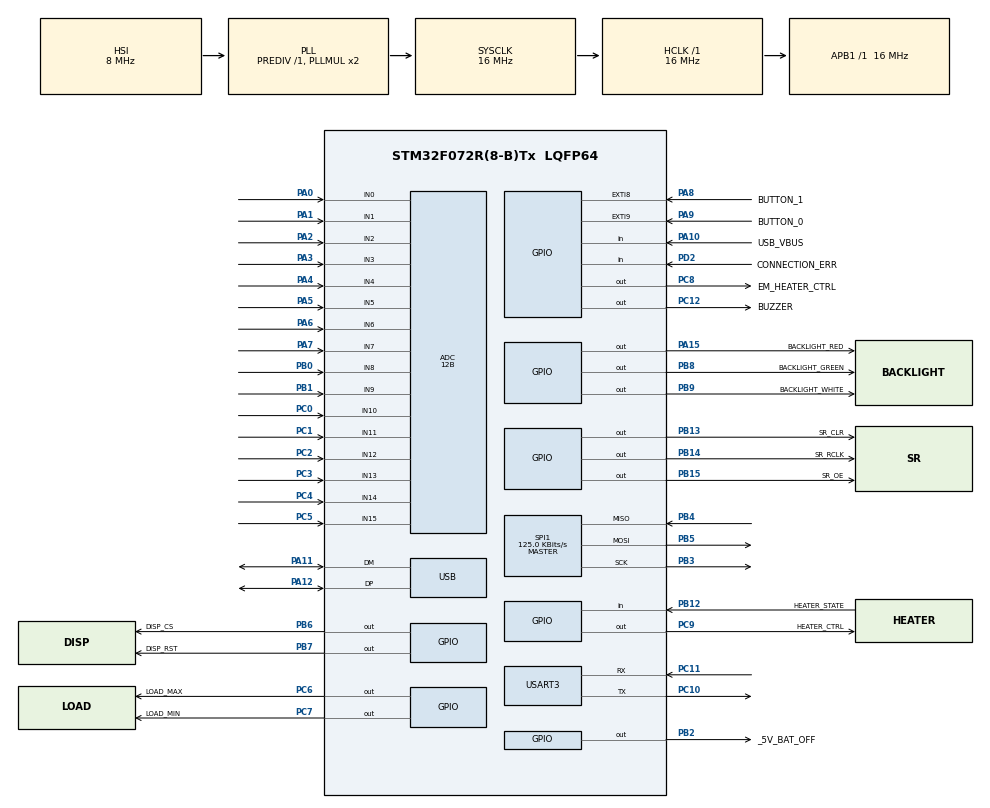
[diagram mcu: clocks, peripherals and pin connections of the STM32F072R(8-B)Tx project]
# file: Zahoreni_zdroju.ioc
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ADC.Resolution=ADC_RESOLUTION_12B
ADC.SamplingTime=ADC_SAMPLETIME_55CYCLES_5
Mcu.Family=STM32F0
Mcu.Name=STM32F072R(8-B)Tx
Mcu.Package=LQFP64
NVIC.ADC1_COMP_IRQn=true\:0\:0\:false\:false\:true\:true\:true\:true
NVIC.EXTI4_15_IRQn=true\:0\:0\:false\:false\:true\:true\:true\:true
NVIC.TIM14_IRQn=true\:0\:0\:false\:false\:true\:true\:true\:true
NVIC.USART3_4_IRQn=true\:0\:0\:false\:false\:true\:true\:true\:true
NVIC.USB_IRQn=true\:0\:0\:false\:false\:true\:false\:true\:true
PA0.Mode=IN0
PA0.Signal=ADC_IN0
PA1.Mode=IN1
PA1.Signal=ADC_IN1
PA10.GPIO_Label=USB_VBUS
PA10.Signal=GPIO_Input
PA11.Mode=Device
PA11.Signal=USB_DM
PA12.Mode=Device
PA12.Signal=USB_DP
PA13.Mode=Serial_Wire
PA13.Signal=SYS_SWDIO
PA14.Mode=Serial_Wire
PA14.Signal=SYS_SWCLK
PA15.GPIO_Label=BACKLIGHT_RED
PA15.Signal=GPIO_Output
PA2.Mode=IN2
PA2.Signal=ADC_IN2
PA3.Mode=IN3
PA3.Signal=ADC_IN3
PA4.Mode=IN4
PA4.Signal=ADC_IN4
PA5.Mode=IN5
PA5.Signal=ADC_IN5
PA6.Mode=IN6
PA6.Signal=ADC_IN6
PA7.Mode=IN7
PA7.Signal=ADC_IN7
PA8.GPIO_Label=BUTTON_1
PA8.GPIO_PuPd=GPIO_PULLDOWN
PA8.Signal=GPXTI8
PA9.GPIO_Label=BUTTON_0
PA9.GPIO_PuPd=GPIO_PULLDOWN
PA9.Signal=GPXTI9
PB0.Mode=IN8
PB0.Signal=ADC_IN8
PB1.Mode=IN9
PB1.Signal=ADC_IN9
PB12.GPIO_Label=HEATER_STATE
PB12.Signal=GPIO_Input
PB13.GPIO_Label=SR_CLR
PB13.Signal=GPIO_Output
PB14.GPIO_Label=SR_RCLK
PB14.Signal=GPIO_Output
PB15.GPIO_Label=SR_OE
PB15.Signal=GPIO_Output
PB2.GPIO_Label=_5V_BAT_OFF
PB2.Signal=GPIO_Output
PB3.Mode=Full_Duplex_Master
PB3.Signal=SPI1_SCK
PB4.Mode=Full_Duplex_Master
PB4.Signal=SPI1_MISO
PB5.Mode=Full_Duplex_Master
PB5.Signal=SPI1_MOSI
PB6.GPIO_Label=DISP_CS
PB6.Signal=GPIO_Output
PB7.GPIO_Label=DISP_RST
PB7.Signal=GPIO_Output
PB8.GPIO_Label=BACKLIGHT_GREEN
PB8.Signal=GPIO_Output
PB9.GPIO_Label=BACKLIGHT_WHITE
PB9.Signal=GPIO_Output
PC0.Mode=IN10
PC0.Signal=ADC_IN10
PC1.Mode=IN11
PC1.Signal=ADC_IN11
PC10.Mode=Asynchronous
PC10.Signal=USART3_TX
PC11.Mode=Asynchronous
PC11.Signal=USART3_RX
PC12.GPIO_Label=BUZZER
PC12.Signal=GPIO_Output
PC2.Mode=IN12
PC2.Signal=ADC_IN12
PC3.Mode=IN13
PC3.Signal=ADC_IN13
PC4.Mode=IN14
PC4.Signal=ADC_IN14
PC5.Mode=IN15
PC5.Signal=ADC_IN15
PC6.GPIO_Label=LOAD_MAX
PC6.Signal=GPIO_Output
PC7.GPIO_Label=LOAD_MIN
PC7.Signal=GPIO_Output
PC8.GPIO_Label=EM_HEATER_CTRL
PC8.Signal=GPIO_Output
PC9.GPIO_Label=HEATER_CTRL
PC9.Signal=GPIO_Output
PD2.GPIO_Label=CONNECTION_ERR
PD2.Signal=GPIO_Input
PF0-OSC_IN.Mode=HSE-External-Oscillator
PF0-OSC_IN.Signal=RCC_OSC_IN
PF1-OSC_OUT.Mode=HSE-External-Oscillator
PF1-OSC_OUT.Signal=RCC_OSC_OUT
ProjectManager.HeapSize=0x200
ProjectManager.StackSize=0x400
ProjectManager.TargetToolchain=STM32CubeIDE
RCC.AHBFreq_Value=16000000
RCC.APB1Freq_Value=16000000
RCC.APB1TimFreq_Value=16000000
RCC.HCLKFreq_Value=16000000
RCC.HSE_VALUE=16000000
RCC.SYSCLKFreq_VALUE=16000000
RCC.SYSCLKSource=RCC_SYSCLKSOURCE_PLLCLK
SPI1.BaudRatePrescaler=SPI_BAUDRATEPRESCALER_128
SPI1.CLKPhase=SPI_PHASE_2EDGE
SPI1.CLKPolarity=SPI_POLARITY_HIGH
SPI1.CalculateBaudRate=125.0 KBits/s
SPI1.DataSize=SPI_DATASIZE_8BIT
SPI1.Direction=SPI_DIRECTION_2LINES
SPI1.Mode=SPI_MODE_MASTER
SPI1.VirtualType=VM_MASTER
TIM14.Channel=TIM_CHANNEL_1
TIM14.Period=10000-1
TIM14.Prescaler=16-1
USART3.VirtualMode-Asynchronous=VM_ASYNC
USB_DEVICE.CLASS_NAME_FS=CDC
USB_DEVICE.VirtualMode=Cdc
USB_DEVICE.VirtualModeFS=Cdc_FS
VP_ADC_Vref_Input.Mode=IN-Vrefint
VP_TIM14_VS_ClockSourceINT.Mode=Enable_Timer
VP_TIM14_VS_no_output1.Mode=Output Compare1 No Output
VP_USB_DEVICE_VS_USB_DEVICE_CDC_FS.Mode=CDC_FS
board=custom

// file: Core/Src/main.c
/* USER CODE BEGIN Header */
/**
  ******************************************************************************
  * @file           : main.c
  * @brief          : Main program body
  ******************************************************************************
  * @attention
  *
  * <h2><center>&copy; Copyright (c) 2021 STMicroelectronics.
  * All rights reserved.</center></h2>
  *
  * This software component is licensed by ST under BSD 3-Clause license,
  * the "License"; You may not use this file except in compliance with the
  * License. You may obtain a copy of the License at:
  *                        opensource.org/licenses/BSD-3-Clause
  *
  ******************************************************************************
  */
/* USER CODE END Header */
#include "main.h"
#include "usb_device.h"

/* USER CODE BEGIN Includes */
#include "usbd_cdc_if.h"
/* USER CODE END Includes */

/* USER CODE BEGIN PTD */
//nějaká změna
/* USER CODE END PTD */

ADC_HandleTypeDef hadc;

SPI_HandleTypeDef hspi1;

TIM_HandleTypeDef htim14;

UART_HandleTypeDef huart3;

/* USER CODE BEGIN PV */
//extern	RING_BUFFER* dispBuffer;
//extern	RING_BUFFER* regBuffer;
extern	RING_BUFFER* USB_Rx_Buffer;
extern	RING_BUFFER* USB_Tx_Buffer;

volatile uint32_t ADC_Buffer[17][NUMBER_OF_SAMPLES];	//get samples of each channel
volatile uint32_t ADC_Results[17] = {0};

const uint32_t ADC_ChannelConf[] = 	{U15V_CHANNEL, U15V_CURRENT_CHANNEL,
		 	 	 	 	 	 	 	 U12V_CHANNEL, U12V_CURRENT_CHANNEL,
									 U24VO2_CHANNEL, U24VO2_CURRENT_CHANNEL,
									 U24V_CHANNEL, U24V_CURRENT_CHANNEL,
									 U5VK_CHANNEL, U5VK_CURRENT_CHANNEL,
									 U5V_CHANNEL, U5V_CURRENT_CHANNEL,
									 U_BAT_CHANNEL,
									 U48V_CURRENT_CHANNEL,
									 INTERNAL_REF_CHANNEL,
									 PAD9_CHANNEL, PAD15_CHANNEL};

//extern const uint8_t regCount;

//_____Proměnné �?asu_____//
volatile uint32_t sysTime[4] = {0};
/*
 * SYSTIME_TEN_MS	0
 * SYSTIME_SEC		1
 * SYSTIME_MIN		2
 * SYSTIME_HOUR		3
 */

//_____Bitové pole příznaků_____//
volatile Flags flags;

//_____Proměnné pro debouncing_____//
volatile uint8_t button0_Debounce = 0;
volatile uint8_t button1_Debounce = 0;

//_____Číslo zdroje k otestování_____//
volatile uint8_t supplyToTest = 0;

//_____Kalibra�?ní hodnota interní reference____//
uint16_t calibValue;

/* USER CODE END PV */

void SystemClock_Config(void);
static void MX_GPIO_Init(void);
static void MX_ADC_Init(void);
static void MX_SPI1_Init(void);
static void MX_USART3_UART_Init(void);
static void MX_TIM14_Init(void);
/* USER CODE BEGIN PFP */
 static void clkHandler();
 static void buttonDebounce();
 static void dispHandler();
 static void UI_Handler();
 static void measHandler();
 static void calibHandler();
 static void ADC_dataProcessing();

//static uint32_t ADC_dataProcessing();
/* USER CODE END PFP */

/* USER CODE BEGIN 0 */

//_____Buttons interrupt callback_____//
void HAL_GPIO_EXTI_Callback(uint16_t GPIO_Pin)
{
	if(GPIO_Pin == BUTTON_0_Pin)
	{
		flags.buttons.butt0_int = 1;
	}
	if(GPIO_Pin == BUTTON_1_Pin)
	{
		flags.buttons.butt1_int = 1;
	}
}

//_____Timer interrupt callback_____//
void HAL_TIM_PeriodElapsedCallback(TIM_HandleTypeDef *htim)
{
	if(htim == &htim14)	//Timer 14 -> každých 10 ms
	{
		//Krátké pípnutí signalizuje vykonávání hlavní smy�?ky programu
		//delší než deset ms
		if(flags.time.ten_ms == 1)
			flags.ui.shortBeep = 1;
		flags.time.ten_ms = 1;
	}
}

//_____ADC data ready callback_____//
void HAL_ADC_ConvCpltCallback(ADC_HandleTypeDef* hadc)
{
	HAL_ADC_Stop_IT(hadc);
	flags.meas.measDataReady = 1;
}

/* USER CODE END 0 */

int main(void)
{

  /* MCU Configuration--------------------------------------------------------*/

  /* Reset of all peripherals, Initializes the Flash interface and the Systick. */
  HAL_Init();

  /* USER CODE BEGIN Init */

  //__Buffery___//
  //dispBuffer = createBuffer(100);
  //regBuffer = createBuffer(100);
  USB_Rx_Buffer = createBuffer(500);
  USB_Tx_Buffer = createBuffer(500);

  /* USER CODE END Init */

  /* Configure the system clock */
  SystemClock_Config();

  /* Initialize all configured peripherals */
  MX_GPIO_Init();
  MX_USB_DEVICE_Init();
  MX_ADC_Init();
  MX_SPI1_Init();
  MX_USART3_UART_Init();
  MX_TIM14_Init();
  /* USER CODE BEGIN 2 */
  //___Nacteni kalibracni konstanty___//
  calibValue = *((uint16_t*)CALIB_VALUE_PTR);

  //___Inicializace displeje___//
  dispInit();
  char line1[] = "Zahoreni";
  char line2[] = "zdroju";
  writeRow(line1, 8, 1, CENTER);
  writeRow(line2, 6, 2, CENTER);

  LOAD_MIN_OFF;
  LOAD_MAX_OFF;

  if(regInit() != REG_OK)	//inicializace shift registrů
  {
	  flags.conErr = 1;
	  //Odešli zprávu do PC
  }

  // Start timer
  HAL_TIM_Base_Start_IT(&htim14);

  flags.ui.longBeep = 1;
  /* USER CODE END 2 */

  /* Infinite loop */
  while (1)
  {

    /* USER CODE BEGIN 3 */

	  if(flags.time.ten_ms)	// 10 ms
	  {
		  clkHandler();
		  buttonDebounce();
		  comHandler();
		  calibHandler();
		  dispHandler();
		  UI_Handler();
		  testHandler();
		  measHandler();

	  }

  }
  /* USER CODE END 3 */
}

void SystemClock_Config(void)
{
  RCC_OscInitTypeDef RCC_OscInitStruct = {0};
  RCC_ClkInitTypeDef RCC_ClkInitStruct = {0};
  RCC_PeriphCLKInitTypeDef PeriphClkInit = {0};

  /** Initializes the RCC Oscillators according to the specified parameters
  * in the RCC_OscInitTypeDef structure.
  */
  RCC_OscInitStruct.OscillatorType = RCC_OSCILLATORTYPE_HSI|RCC_OSCILLATORTYPE_HSI14
                              |RCC_OSCILLATORTYPE_HSI48;
  RCC_OscInitStruct.HSIState = RCC_HSI_ON;
  RCC_OscInitStruct.HSI48State = RCC_HSI48_ON;
  RCC_OscInitStruct.HSI14State = RCC_HSI14_ON;
  RCC_OscInitStruct.HSICalibrationValue = RCC_HSICALIBRATION_DEFAULT;
  RCC_OscInitStruct.HSI14CalibrationValue = 16;
  RCC_OscInitStruct.PLL.PLLState = RCC_PLL_ON;
  RCC_OscInitStruct.PLL.PLLSource = RCC_PLLSOURCE_HSI;
  RCC_OscInitStruct.PLL.PLLMUL = RCC_PLL_MUL2;
  RCC_OscInitStruct.PLL.PREDIV = RCC_PREDIV_DIV1;
  if (HAL_RCC_OscConfig(&RCC_OscInitStruct) != HAL_OK)
  {
    Error_Handler();
  }

  /** Initializes the CPU, AHB and APB buses clocks
  */
  RCC_ClkInitStruct.ClockType = RCC_CLOCKTYPE_HCLK|RCC_CLOCKTYPE_SYSCLK
                              |RCC_CLOCKTYPE_PCLK1;
  RCC_ClkInitStruct.SYSCLKSource = RCC_SYSCLKSOURCE_PLLCLK;
  RCC_ClkInitStruct.AHBCLKDivider = RCC_SYSCLK_DIV1;
  RCC_ClkInitStruct.APB1CLKDivider = RCC_HCLK_DIV1;

  if (HAL_RCC_ClockConfig(&RCC_ClkInitStruct, FLASH_LATENCY_0) != HAL_OK)
  {
    Error_Handler();
  }
  PeriphClkInit.PeriphClockSelection = RCC_PERIPHCLK_USB;
  PeriphClkInit.UsbClockSelection = RCC_USBCLKSOURCE_HSI48;

  if (HAL_RCCEx_PeriphCLKConfig(&PeriphClkInit) != HAL_OK)
  {
    Error_Handler();
  }
}

static void MX_ADC_Init(void)
{

  ADC_ChannelConfTypeDef sConfig = {0};

  /** Configure the global features of the ADC (Clock, Resolution, Data Alignment and number of conversion)
  */
  hadc.Instance = ADC1;
  hadc.Init.ClockPrescaler = ADC_CLOCK_ASYNC_DIV1;
  hadc.Init.Resolution = ADC_RESOLUTION_12B;
  hadc.Init.DataAlign = ADC_DATAALIGN_RIGHT;
  hadc.Init.ScanConvMode = ADC_SCAN_DIRECTION_FORWARD;
  hadc.Init.EOCSelection = ADC_EOC_SINGLE_CONV;
  hadc.Init.LowPowerAutoWait = DISABLE;
  hadc.Init.LowPowerAutoPowerOff = DISABLE;
  hadc.Init.ContinuousConvMode = DISABLE;
  hadc.Init.DiscontinuousConvMode = DISABLE;
  hadc.Init.ExternalTrigConv = ADC_SOFTWARE_START;
  hadc.Init.ExternalTrigConvEdge = ADC_EXTERNALTRIGCONVEDGE_NONE;
  hadc.Init.DMAContinuousRequests = DISABLE;
  hadc.Init.Overrun = ADC_OVR_DATA_PRESERVED;
  if (HAL_ADC_Init(&hadc) != HAL_OK)
  {
    Error_Handler();
  }

  /** Configure for the selected ADC regular channel to be converted.
  */
  sConfig.Channel = ADC_CHANNEL_0;
  sConfig.Rank = ADC_RANK_CHANNEL_NUMBER;
  sConfig.SamplingTime = ADC_SAMPLETIME_55CYCLES_5;
  if (HAL_ADC_ConfigChannel(&hadc, &sConfig) != HAL_OK)
  {
    Error_Handler();
  }

  /** Configure for the selected ADC regular channel to be converted.
  */
  sConfig.Channel = ADC_CHANNEL_1;
  if (HAL_ADC_ConfigChannel(&hadc, &sConfig) != HAL_OK)
  {
    Error_Handler();
  }

  /** Configure for the selected ADC regular channel to be converted.
  */
  sConfig.Channel = ADC_CHANNEL_2;
  if (HAL_ADC_ConfigChannel(&hadc, &sConfig) != HAL_OK)
  {
    Error_Handler();
  }

  /** Configure for the selected ADC regular channel to be converted.
  */
  sConfig.Channel = ADC_CHANNEL_3;
  if (HAL_ADC_ConfigChannel(&hadc, &sConfig) != HAL_OK)
  {
    Error_Handler();
  }

  /** Configure for the selected ADC regular channel to be converted.
  */
  sConfig.Channel = ADC_CHANNEL_4;
  if (HAL_ADC_ConfigChannel(&hadc, &sConfig) != HAL_OK)
  {
    Error_Handler();
  }

  /** Configure for the selected ADC regular channel to be converted.
  */
  sConfig.Channel = ADC_CHANNEL_5;
  if (HAL_ADC_ConfigChannel(&hadc, &sConfig) != HAL_OK)
  {
    Error_Handler();
  }

  /** Configure for the selected ADC regular channel to be converted.
  */
  sConfig.Channel = ADC_CHANNEL_6;
  if (HAL_ADC_ConfigChannel(&hadc, &sConfig) != HAL_OK)
  {
    Error_Handler();
  }

  /** Configure for the selected ADC regular channel to be converted.
  */
  sConfig.Channel = ADC_CHANNEL_7;
  if (HAL_ADC_ConfigChannel(&hadc, &sConfig) != HAL_OK)
  {
    Error_Handler();
  }

  /** Configure for the selected ADC regular channel to be converted.
  */
  sConfig.Channel = ADC_CHANNEL_8;
  if (HAL_ADC_ConfigChannel(&hadc, &sConfig) != HAL_OK)
  {
    Error_Handler();
  }

  /** Configure for the selected ADC regular channel to be converted.
  */
  sConfig.Channel = ADC_CHANNEL_9;
  if (HAL_ADC_ConfigChannel(&hadc, &sConfig) != HAL_OK)
  {
    Error_Handler();
  }

  /** Configure for the selected ADC regular channel to be converted.
  */
  sConfig.Channel = ADC_CHANNEL_10;
  if (HAL_ADC_ConfigChannel(&hadc, &sConfig) != HAL_OK)
  {
    Error_Handler();
  }

  /** Configure for the selected ADC regular channel to be converted.
  */
  sConfig.Channel = ADC_CHANNEL_11;
  if (HAL_ADC_ConfigChannel(&hadc, &sConfig) != HAL_OK)
  {
    Error_Handler();
  }

  /** Configure for the selected ADC regular channel to be converted.
  */
  sConfig.Channel = ADC_CHANNEL_12;
  if (HAL_ADC_ConfigChannel(&hadc, &sConfig) != HAL_OK)
  {
    Error_Handler();
  }

  /** Configure for the selected ADC regular channel to be converted.
  */
  sConfig.Channel = ADC_CHANNEL_13;
  if (HAL_ADC_ConfigChannel(&hadc, &sConfig) != HAL_OK)
  {
    Error_Handler();
  }

  /** Configure for the selected ADC regular channel to be converted.
  */
  sConfig.Channel = ADC_CHANNEL_14;
  if (HAL_ADC_ConfigChannel(&hadc, &sConfig) != HAL_OK)
  {
    Error_Handler();
  }

  /** Configure for the selected ADC regular channel to be converted.
  */
  sConfig.Channel = ADC_CHANNEL_15;
  if (HAL_ADC_ConfigChannel(&hadc, &sConfig) != HAL_OK)
  {
    Error_Handler();
  }

  /** Configure for the selected ADC regular channel to be converted.
  */
  sConfig.Channel = ADC_CHANNEL_VREFINT;
  if (HAL_ADC_ConfigChannel(&hadc, &sConfig) != HAL_OK)
  {
    Error_Handler();
  }
  /* USER CODE BEGIN ADC_Init 2 */
  HAL_ADCEx_Calibration_Start(&hadc);
  /* USER CODE END ADC_Init 2 */

}

static void MX_SPI1_Init(void)
{

  /* SPI1 parameter configuration*/
  hspi1.Instance = SPI1;
  hspi1.Init.Mode = SPI_MODE_MASTER;
  hspi1.Init.Direction = SPI_DIRECTION_2LINES;
  hspi1.Init.DataSize = SPI_DATASIZE_8BIT;
  hspi1.Init.CLKPolarity = SPI_POLARITY_HIGH;
  hspi1.Init.CLKPhase = SPI_PHASE_2EDGE;
  hspi1.Init.NSS = SPI_NSS_SOFT;
  hspi1.Init.BaudRatePrescaler = SPI_BAUDRATEPRESCALER_128;
  hspi1.Init.FirstBit = SPI_FIRSTBIT_MSB;
  hspi1.Init.TIMode = SPI_TIMODE_DISABLE;
  hspi1.Init.CRCCalculation = SPI_CRCCALCULATION_DISABLE;
  hspi1.Init.CRCPolynomial = 7;
  hspi1.Init.CRCLength = SPI_CRC_LENGTH_DATASIZE;
  hspi1.Init.NSSPMode = SPI_NSS_PULSE_DISABLE;
  if (HAL_SPI_Init(&hspi1) != HAL_OK)
  {
    Error_Handler();
  }
  /* USER CODE BEGIN SPI1_Init 2 */
  DISP_CS_OFF;
  /* USER CODE END SPI1_Init 2 */

}

static void MX_TIM14_Init(void)
{

  TIM_OC_InitTypeDef sConfigOC = {0};

  htim14.Instance = TIM14;
  htim14.Init.Prescaler = 16-1;
  htim14.Init.CounterMode = TIM_COUNTERMODE_UP;
  htim14.Init.Period = 10000-1;
  htim14.Init.ClockDivision = TIM_CLOCKDIVISION_DIV1;
  htim14.Init.AutoReloadPreload = TIM_AUTORELOAD_PRELOAD_DISABLE;
  if (HAL_TIM_Base_Init(&htim14) != HAL_OK)
  {
    Error_Handler();
  }
  if (HAL_TIM_OC_Init(&htim14) != HAL_OK)
  {
    Error_Handler();
  }
  sConfigOC.OCMode = TIM_OCMODE_TIMING;
  sConfigOC.Pulse = 0;
  sConfigOC.OCPolarity = TIM_OCPOLARITY_HIGH;
  sConfigOC.OCFastMode = TIM_OCFAST_DISABLE;
  if (HAL_TIM_OC_ConfigChannel(&htim14, &sConfigOC, TIM_CHANNEL_1) != HAL_OK)
  {
    Error_Handler();
  }

}

static void MX_USART3_UART_Init(void)
{

  huart3.Instance = USART3;
  huart3.Init.BaudRate = 38400;
  huart3.Init.WordLength = UART_WORDLENGTH_8B;
  huart3.Init.StopBits = UART_STOPBITS_1;
  huart3.Init.Parity = UART_PARITY_NONE;
  huart3.Init.Mode = UART_MODE_TX_RX;
  huart3.Init.HwFlowCtl = UART_HWCONTROL_NONE;
  huart3.Init.OverSampling = UART_OVERSAMPLING_16;
  huart3.Init.OneBitSampling = UART_ONE_BIT_SAMPLE_DISABLE;
  huart3.AdvancedInit.AdvFeatureInit = UART_ADVFEATURE_NO_INIT;
  if (HAL_UART_Init(&huart3) != HAL_OK)
  {
    Error_Handler();
  }

}

static void MX_GPIO_Init(void)
{
  GPIO_InitTypeDef GPIO_InitStruct = {0};

  /* GPIO Ports Clock Enable */
  __HAL_RCC_GPIOF_CLK_ENABLE();
  __HAL_RCC_GPIOC_CLK_ENABLE();
  __HAL_RCC_GPIOA_CLK_ENABLE();
  __HAL_RCC_GPIOB_CLK_ENABLE();
  __HAL_RCC_GPIOD_CLK_ENABLE();

  /*Configure GPIO pin Output Level */
  HAL_GPIO_WritePin(GPIOB, _5V_BAT_OFF_Pin|SR_CLR_Pin|SR_RCLK_Pin|SR_OE_Pin
                          |DISP_CS_Pin|DISP_RST_Pin|BACKLIGHT_GREEN_Pin|BACKLIGHT_WHITE_Pin, GPIO_PIN_RESET);

  /*Configure GPIO pin Output Level */
  HAL_GPIO_WritePin(GPIOC, LOAD_MAX_Pin|LOAD_MIN_Pin|EM_HEATER_CTRL_Pin|HEATER_CTRL_Pin
                          |BUZZER_Pin, GPIO_PIN_RESET);

  /*Configure GPIO pin Output Level */
  HAL_GPIO_WritePin(BACKLIGHT_RED_GPIO_Port, BACKLIGHT_RED_Pin, GPIO_PIN_RESET);

  /*Configure GPIO pins : _5V_BAT_OFF_Pin SR_CLR_Pin SR_RCLK_Pin SR_OE_Pin
                           DISP_CS_Pin DISP_RST_Pin BACKLIGHT_GREEN_Pin BACKLIGHT_WHITE_Pin */
  GPIO_InitStruct.Pin = _5V_BAT_OFF_Pin|SR_CLR_Pin|SR_RCLK_Pin|SR_OE_Pin
                          |DISP_CS_Pin|DISP_RST_Pin|BACKLIGHT_GREEN_Pin|BACKLIGHT_WHITE_Pin;
  GPIO_InitStruct.Mode = GPIO_MODE_OUTPUT_PP;
  GPIO_InitStruct.Pull = GPIO_NOPULL;
  GPIO_InitStruct.Speed = GPIO_SPEED_FREQ_LOW;
  HAL_GPIO_Init(GPIOB, &GPIO_InitStruct);

  /*Configure GPIO pin : HEATER_STATE_Pin */
  GPIO_InitStruct.Pin = HEATER_STATE_Pin;
  GPIO_InitStruct.Mode = GPIO_MODE_INPUT;
  GPIO_InitStruct.Pull = GPIO_NOPULL;
  HAL_GPIO_Init(HEATER_STATE_GPIO_Port, &GPIO_InitStruct);

  /*Configure GPIO pins : LOAD_MAX_Pin LOAD_MIN_Pin EM_HEATER_CTRL_Pin HEATER_CTRL_Pin
                           BUZZER_Pin */
  GPIO_InitStruct.Pin = LOAD_MAX_Pin|LOAD_MIN_Pin|EM_HEATER_CTRL_Pin|HEATER_CTRL_Pin
                          |BUZZER_Pin;
  GPIO_InitStruct.Mode = GPIO_MODE_OUTPUT_PP;
  GPIO_InitStruct.Pull = GPIO_NOPULL;
  GPIO_InitStruct.Speed = GPIO_SPEED_FREQ_LOW;
  HAL_GPIO_Init(GPIOC, &GPIO_InitStruct);

  /*Configure GPIO pins : BUTTON_1_Pin BUTTON_0_Pin */
  GPIO_InitStruct.Pin = BUTTON_1_Pin|BUTTON_0_Pin;
  GPIO_InitStruct.Mode = GPIO_MODE_IT_RISING;
  GPIO_InitStruct.Pull = GPIO_PULLDOWN;
  HAL_GPIO_Init(GPIOA, &GPIO_InitStruct);

  /*Configure GPIO pin : USB_VBUS_Pin */
  GPIO_InitStruct.Pin = USB_VBUS_Pin;
  GPIO_InitStruct.Mode = GPIO_MODE_INPUT;
  GPIO_InitStruct.Pull = GPIO_NOPULL;
  HAL_GPIO_Init(USB_VBUS_GPIO_Port, &GPIO_InitStruct);

  /*Configure GPIO pin : BACKLIGHT_RED_Pin */
  GPIO_InitStruct.Pin = BACKLIGHT_RED_Pin;
  GPIO_InitStruct.Mode = GPIO_MODE_OUTPUT_PP;
  GPIO_InitStruct.Pull = GPIO_NOPULL;
  GPIO_InitStruct.Speed = GPIO_SPEED_FREQ_LOW;
  HAL_GPIO_Init(BACKLIGHT_RED_GPIO_Port, &GPIO_InitStruct);

  /*Configure GPIO pin : CONNECTION_ERR_Pin */
  GPIO_InitStruct.Pin = CONNECTION_ERR_Pin;
  GPIO_InitStruct.Mode = GPIO_MODE_INPUT;
  GPIO_InitStruct.Pull = GPIO_NOPULL;
  HAL_GPIO_Init(CONNECTION_ERR_GPIO_Port, &GPIO_InitStruct);

  /* EXTI interrupt init*/
  HAL_NVIC_SetPriority(EXTI4_15_IRQn, 0, 0);
  HAL_NVIC_EnableIRQ(EXTI4_15_IRQn);

}

/* USER CODE BEGIN 4 */

//_____Hodiny_____//
static void clkHandler(void)
{
	//___nulování všech flagů___//
	flags.time.ten_ms = 0;
	flags.time.sec	= 0;
	flags.time.min	= 0;
	flags.time.hour	= 0;

	sysTime[SYSTIME_TEN_MS]++;	//uplynulo dalších 10 ms

#ifdef __DEBUG_FAST__
	if((sysTime[SYSTIME_TEN_MS] % 10) == 0)	//0,1 s
#else
	if((sysTime[SYSTIME_TEN_MS] % 100) == 0)	//1 s
#endif
	{
		sysTime[SYSTIME_SEC]++;
		flags.time.sec = 1;
	}

	if(flags.time.sec)	//Uplynula 1 s
	{
		if((sysTime[SYSTIME_SEC] % 60) == 0 && sysTime[SYSTIME_TEN_MS] != 0)	//1 min
		{
			sysTime[SYSTIME_SEC] = 0;
			sysTime[SYSTIME_MIN]++;
			flags.time.min = 1;
		}

		if(flags.time.min)	//Uplynula 1 min
		{
			if((sysTime[SYSTIME_MIN] % 60) == 0 && sysTime[SYSTIME_TEN_MS] != 0)	//1 min
			{

				sysTime[SYSTIME_SEC] = 0;
				sysTime[SYSTIME_MIN] = 0;
				sysTime[SYSTIME_HOUR]++;
				flags.time.hour = 1;
				if(sysTime[SYSTIME_HOUR] >= 23)
					sysTime[SYSTIME_HOUR] = 0;
			}
		}
	}

#ifdef __DEBUG_TIME__
	if(flags.time.sec)
	{
		char timeStamp[30];
		sprintf(timeStamp, "%d : %d : %d\n", sysTime[SYSTIME_HOUR], sysTime[SYSTIME_MIN], sysTime[SYSTIME_SEC]);
		pushStr(USB_Tx_Buffer, timeStamp, strlen(timeStamp));	//odešli �?as
	}
#endif
}

//_____Debounce tla�?ítek_____//
static void buttonDebounce(void)
{
	//___nulování flagů___//
	flags.buttons.butt0_ver = 0;
	flags.buttons.butt1_ver = 0;

	if(flags.buttons.butt0_int)	//interrupt tla�?ítka 0
	{
		if(HAL_GPIO_ReadPin(BUTTON_0_GPIO_Port,BUTTON_0_Pin) == GPIO_PIN_SET)
		{
			button0_Debounce++;
		}
		else	//pin tla�?ítka na Low -> šlo o zákmit
		{
			button0_Debounce = 0;
			flags.buttons.butt0_int = 0;
		}
		if(button0_Debounce >= 5)	//pin tla�?ítka na High 5*10 ms -> ustálený stisk
		{
			flags.buttons.butt0_ver = 1;
			flags.buttons.butt0_int = 0;
			button0_Debounce = 0;

			flags.ui.active = 1;
#ifdef __DEBUG_BUTT__
			HAL_GPIO_TogglePin(BACKLIGHT_GREEN_GPIO_Port, BACKLIGHT_GREEN_Pin);
			//writeChar('a', 1, 5);
#endif
		}
	}

	if(flags.buttons.butt1_int)	//interrupt tla�?ítka 1
	{
		if(HAL_GPIO_ReadPin(BUTTON_1_GPIO_Port,BUTTON_1_Pin) == GPIO_PIN_SET)
		{
			button1_Debounce++;
		}
		else	//pin tla�?ítka na Low -> šlo o zákmit
		{
			button1_Debounce = 0;
			flags.buttons.butt1_int = 0;
		}
		if(button1_Debounce >= 5)	//pin tla�?ítka na High 5*10 ms -> ustálený stisk
		{
			flags.buttons.butt1_ver = 1;
			flags.buttons.butt1_int = 0;
			button1_Debounce = 0;

			flags.ui.active = 1;
#ifdef __DEBUG_BUTT__
			HAL_GPIO_TogglePin(BACKLIGHT_RED_GPIO_Port, BACKLIGHT_RED_Pin);
#endif
		}
	}
}

//_____Obsluha výtisků textu na displej_____//
static void dispHandler()
{
	char emptyString[] = "                ";
	char* strings[4] = {emptyString};
	ALIGN align[4] = {CENTER};

#ifdef __ADC_DEBUG__
	if(flags.meas.measComplete)
	{
		char ADC_value[10] = {0};
		sprintf(ADC_value, "ADC: %d", ADC_Results[U24VO2-1]);
		strings[3] = ADC_value;
		writeRow(strings[3], strlen(strings[3]), 3, align[3]);
	}
#endif

	if(flags.testProgress && !flags.instructions.stopRequest)
	{
		if(currentPhase() != WAITING)
		{
			char supplyInTestingNum[6];
			sprintf(supplyInTestingNum, "%d/%d", supplyToTest+1, regCount);

			strings[0] = supplyInTestingNum;
			align[0] = LEFT;
		}

		switch(currentPhase())
		{
		case START:
		{
			char start1[] = "Spousteni";
			strings[1] = start1;
			align[1] = CENTER;

			break;
		}
		case START_DONE:
		{
			char start1[] = "Spousteni";
			char start2[] = "dokonceno";
			strings[1] = start1;
			align[1] = CENTER;
			strings[2] = start2;
			align[2] = CENTER;
			break;
		}
		case MAIN_TEST:
		{
			char main1[] = "Hlavni test";
			strings[1] = main1;
			align[1] = CENTER;
			break;
		}
		case MAIN_TEST_DONE:
		{
			char main1[] = "Hlavni test";
			char main2[] = "dokoncen";
			strings[1] = main1;
			align[1] = CENTER;
			strings[2] = main2;
			align[2] = CENTER;
			break;
		}
		case BATTERY_TEST:
		{
			char bat1[] = "Test baterie";
			strings[1] = bat1;
			align[1] = CENTER;
			break;
		}
		case BATTERY_TEST_DONE:
		{
			char bat1[] = "Test baterie";
			char bat2[] = "dokoncen";
			strings[1] = bat1;
			align[1] = CENTER;
			strings[2] = bat2;
			align[2] = CENTER;
			break;
		}
		default:
		{
			char default1[] = "Zahoreni";
			char default2[] = "zdroju";
			strings[1] = default1;
			align[1] = CENTER;
			strings[2] = default2;
			align[2] = CENTER;

			break;
		}
		}

		for(int i = 0; i < 4; i++)
		{
			writeRow(strings[i], strlen(strings[i]), i, align[i]);
		}
	}

	//_____Zobrazení �?asu u hlavních testů_____//
	if(flags.time.sec)
	{
		switch(currentPhase())
		{
		case MAIN_TEST:
		{
			char time[9] = {0};
			sprintf(time, "%lu:%lu:%lu", 2-sysTime[SYSTIME_HOUR], 59-sysTime[SYSTIME_MIN], 59-sysTime[SYSTIME_SEC]);
			writeRow(time, strlen(time), 2, CENTER);
			break;
		}
		case BATTERY_TEST:
		{
			char time[9] = {0};
			sprintf(time, "%lu:%lu", 14-sysTime[SYSTIME_MIN], 59-sysTime[SYSTIME_SEC]);
			writeRow(time, strlen(time), 2, CENTER);
			break;
		}
		default:
			break;
		}
	}

	if(flags.instructions.stopRequest || flags.testCanceled)
	{
		char err[] = "Preruseni";
		strings[1] = err;

		for(int i = 0; i < 4; i++)
		{
			writeRow(strings[i], strlen(strings[i]), i, CENTER);
		}
	}
}

//_____Obsluha piezo + podsvícení displeje_____//
static void UI_Handler(void)
{
	//_____Vypínání podsvětlení displeje při ne�?innosti_____//
	/*static uint32_t startTime_LCD = 0;

	if(flags.testProgress)
		flags.ui.active = 1;
	if(flags.instructions.calibRequest || flags.instructions.startRequest || flags.instructions.stopRequest || flags.instructions.pauseRequest)
		flags.ui.active = 1;

	if(flags.ui.active)
	{
		startTime_LCD = sysTime[SYSTIME_TEN_MS];
		setColour(BACKLIGHT_WHITE);
	}

	if((sysTime[SYSTIME_TEN_MS] - startTime_LCD) >= 6000)	//1min
	{
		setColour(BACKLIGHT_OFF);
	}*/

	if(flags.conErr)
		flags.ui.error = 1;

	flags.ui.active = 0;

	static enum
	{
		OFF = 0U,
		SHORT_BEEP,
		LONG_BEEP,
		ERROR,
		NOTICE,
		DONE,
	}UI_State;

	static uint32_t startTime;	//proměnná pro �?asování dějů

	//___Nastavení stavu podle požadavků___//
	//___Stavy výše mají vyšší prioritu (error nejvyšší)___//
	if(flags.ui.error && (UI_State != ERROR))
	{
		UI_State = ERROR;
		startTime = sysTime[SYSTIME_TEN_MS];
	}
	else if(flags.ui.notice && (UI_State == OFF))
	{
		UI_State = NOTICE;
		startTime = sysTime[SYSTIME_TEN_MS];
		flags.ui.notice = 0;
	}
	else if(flags.ui.done && (UI_State == OFF))
	{
		UI_State = DONE;
		startTime = sysTime[SYSTIME_TEN_MS];
		flags.ui.done = 0;
	}
	else if(flags.ui.longBeep && (UI_State == OFF))
	{
		UI_State = LONG_BEEP;
		startTime = sysTime[SYSTIME_TEN_MS];
		flags.ui.longBeep = 0;
	}
	else if(flags.ui.shortBeep && (UI_State == OFF))
	{
		UI_State = SHORT_BEEP;
		startTime = sysTime[SYSTIME_TEN_MS];
		flags.ui.shortBeep = 0;
	}

	switch(UI_State)
	{
	case SHORT_BEEP:
#ifndef __SILENT__
			BUZZER_ON;
#endif
		if((sysTime[SYSTIME_TEN_MS] - startTime) >= 50)		//0,5s
		{
			UI_State = OFF;
			BUZZER_OFF;
		}
		break;

	case LONG_BEEP:
#ifndef __SILENT__
			BUZZER_ON;
#endif
		if((sysTime[SYSTIME_TEN_MS] - startTime) >= 100)	//1s
		{
			UI_State = OFF;
			BUZZER_OFF;
		}
		break;

	case ERROR:
		if(!flags.ui.error)	//dokud není požadavek zrušen provádí se error
			UI_State = OFF;
		if(!((sysTime[SYSTIME_TEN_MS] - startTime) % 50))	//každých 0,5s
		{
#ifndef __SILENT__
			BUZZER_Toggle;
#endif
			BACKLIGHT_RED_Toggle;
		}
		break;

	case NOTICE:
		if(!((sysTime[SYSTIME_TEN_MS] - startTime) % 35))	//každých 0,35s
		{
#ifndef __SILENT__
			BUZZER_Toggle;
#endif
		}
		if((sysTime[SYSTIME_TEN_MS] - startTime) >= 209)	//Po 2,1s ukon�?i
			UI_State = OFF;
		break;

	case DONE:
		if(!((sysTime[SYSTIME_TEN_MS] - startTime) % 50))	//každých 0,5s
		{
#ifndef __SILENT__
			BUZZER_Toggle;
#endif
			BACKLIGHT_GREEN_Toggle;
		}
		if((sysTime[SYSTIME_TEN_MS] - startTime) >= 299)	//Po 3s ukon�?i
			UI_State = OFF;
		break;

	default:	//Ošetřuje i UI_State == OFF
		BUZZER_OFF;
#ifndef __DEBUG_BUTT__
		//setColour(BACKLIGHT_OFF);
#endif
		break;

	}
}

//_____Osluha AD převodníků_____//
static void measHandler(void)
{
	static ADC_State_Type ADC_State;
	static uint8_t numOfSamples = 0;

	//___Nulování flagů___//
	flags.meas.measComplete = 0;
	flags.meas.measConflict = 0;

	if(flags.meas.measRequest)
	{
		if(!flags.meas.measRunning)
		{
			//hadc->Instance->CR = 0;	//Will disable ADC so calibrtion can start
			HAL_ADCEx_Calibration_Start(&hadc);	//Calibration process
			//hadc->Instance->CR = 1	//Enable ADC
			flags.meas.measRunning = 1;
			if(currentPhase() == BATTERY_TEST || currentPhase() == BATTERY_TEST_DONE)	//probíhá battery test
			{
				flags.meas.onlyBattery = 1;
				ADC_State = U_BAT;
			}
			else
			{
				flags.meas.onlyBattery = 0;
				ADC_State = U15V;
			}
			ADC1->CHSELR = ADC_ChannelConf[ADC_State-1];
			HAL_ADC_Start_IT(&hadc);
		}
		else
		{
			flags.meas.measConflict = 1;
		}
		flags.meas.measRequest = 0;
	}

	if(ADC_State != ADC_WAITING && flags.meas.measDataReady)
	{

		flags.meas.measDataReady = 0;

		ADC_Buffer[ADC_State-1][numOfSamples] = HAL_ADC_GetValue(&hadc);
		if(ADC_State == INTERNAL_REF)	//interni reference je vždy měřena jako poslední
		{
			numOfSamples++;
			if(numOfSamples == NUMBER_OF_SAMPLES)	//Naměřen dostatečný počet vzorků
			{
				ADC_dataProcessing();
				flags.meas.measComplete = 1;
				flags.meas.measRunning = 0;
				ADC_State = ADC_WAITING;
				numOfSamples = 0;
			}
			else
			{
				ADC_State = flags.meas.onlyBattery? U_BAT : U15V;
				ADC1->CHSELR = ADC_ChannelConf[ADC_State-1];
				HAL_ADC_Start_IT(&hadc);
			}
		}
		else
		{
			ADC_State += 2;	//Měř další kanál (měření proudů se přeskakuje)

			ADC1->CHSELR = ADC_ChannelConf[ADC_State-1];	//Nastav měřený kanál

			HAL_ADC_Start_IT(&hadc);
		}
	}
}

static void calibHandler()
{
	static uint32_t savedSec;

	if(flags.instructions.calibRequest)
	{
		sourceInTesting = &regValues[regCount - 1];

		for(int i = 0; i < regCount; i++)
		{
			regValues[i] = 0;
		}
		RELAY_ON(*sourceInTesting);	//připojit relé

		sendData();	//poslat konfiguraci shift registrům

		savedSec = sysTime[SYSTIME_SEC];

		flags.instructions.calibRequest = 0;
		flags.calibRunning = 1;

	}
	if(flags.calibRunning)
	{
		static uint8_t lock = 0;
		if((sysTime[SYSTIME_SEC] >= savedSec + 3) & !lock)
		{
			flags.meas.measRequest = 1;
			flags.meas.calibMeas = 1;
			lock = 1;
		}
		if(flags.instructions.calibDone)
		{
			for(int i = 0; i < regCount; i++)
			{
				regValues[i] = 0;
			}

			sendData();	//poslat konfiguraci shift registrům
			flags.calibRunning = 0;
			flags.instructions.calibDone = 0;
		}
	}
}

//_____Zpracování naměřených dat_____//
static void ADC_dataProcessing()
{
	uint32_t max[17] = {0};
	uint32_t min[17] = {ADC_MAX};

	uint8_t max_pos[17];
	uint8_t min_pos[17];
	//Nalezni max a min naměřenou hodnotu a jejich pozice
	for(uint8_t i = 0; i < NUMBER_OF_SAMPLES; i++)
	{
		for(uint8_t j =0; j < 17; j++)
		{
			if(ADC_Buffer[j][i] > max[j])
			{
				max[j] = ADC_Buffer[j][i];
				max_pos[j] = i;
			}
			if(ADC_Buffer[j][i] < min[j])
			{
				min[j] = ADC_Buffer[j][i];
				min_pos[j] = i;
			}
		}
	}
	//Udělej průměr z naměřených hodnot kromě max a min
	for(uint8_t i = 0; i < NUMBER_OF_SAMPLES; i++)
	{
		for(uint8_t j =0; j < 17; j++)
		{
			if(i != max_pos[j] && i != min_pos[j])
				ADC_Results[j] += ADC_Buffer[j][i];
		}
	}
	for(uint8_t j =0; j < 17; j++)
	{
		ADC_Results[j] /= 17;
	}

	return;
	//return ADC_Buffer[10];
}

/* USER CODE END 4 */

void Error_Handler(void)
{
  __disable_irq();
  while (1)
  {
  }
}
